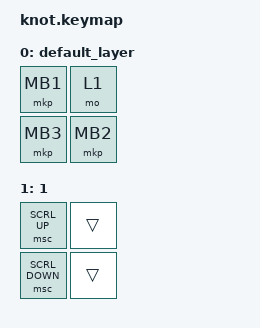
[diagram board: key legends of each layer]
#include <behaviors.dtsi>
#include <dt-bindings/zmk/keys.h>
#include <dt-bindings/zmk/pointing.h>
#include <dt-bindings/zmk/bt.h>
#include <dt-bindings/zmk/input_transform.h>
#include <input/processors.dtsi>

/ {
  trackball_listener {
    scroller {
        layers = <1>;
        input-processors = <
          &zip_xy_transform (INPUT_TRANSFORM_Y_INVERT)
          &zip_x_scaler 0 50  // disable x scroller
          &zip_y_scaler 1 50
          &zip_xy_to_scroll_mapper
        >;
    };
  };

  combos {
    compatible = "zmk,combos";
    combo_bt_clear_all {
      timeout-ms = <50>;
      key-positions = <0 1 2 3>;
      bindings = <&bt BT_CLR_ALL>;
    };
  };

  keymap {
    compatible = "zmk,keymap";
    default_layer {
      bindings = <
        &mkp MB1 &mo 1
        &mkp MB3 &mkp MB2
      >;
    };

    1 {
      bindings = <
        &msc SCRL_UP   &trans
        &msc SCRL_DOWN &trans
      >;
    };
  };
};
